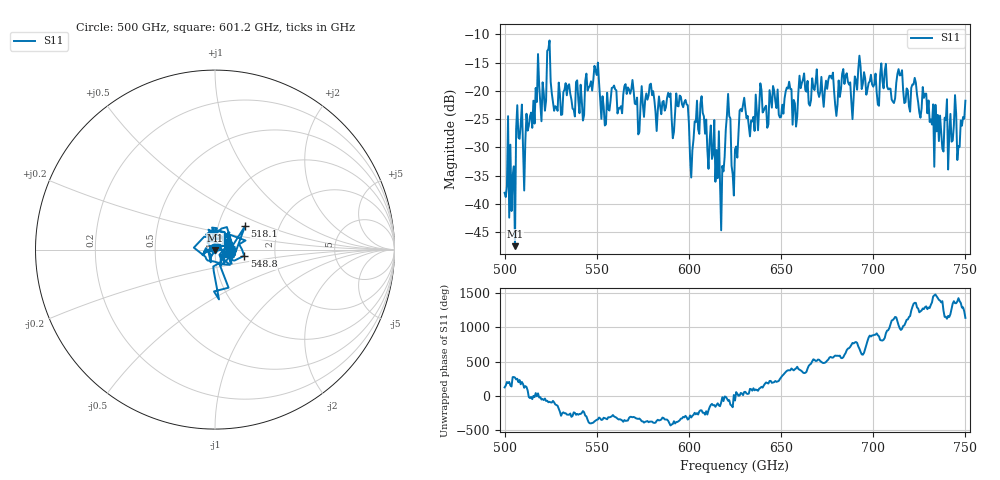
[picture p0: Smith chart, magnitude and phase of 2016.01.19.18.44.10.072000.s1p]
!Created with skrf (http://scikit-rf.org).
# GHz S RI R 50.0
!freq ReS11 ImS11
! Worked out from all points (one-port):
!   401 points, 500 GHz to 750 GHz, reference 50 ohm
!   lowest |S11| = -47.4 dB at 505.6 GHz (marker M1), VSWR 1.01, Z = 50 - j0.426 ohm
!   |S11| at or under -10 dB: start of sweep to end of sweep
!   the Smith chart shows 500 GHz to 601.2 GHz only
!   S11 on the Smith chart (normalised r, x): 500 GHz: 0.99, +0.02; 518.1 GHz: 1.34, +0.36; 548.8 GHz: 1.38, -0.10; 601.2 GHz: 1.02, +0.03
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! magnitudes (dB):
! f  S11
! 500 GHz  -38.0
! 505.6 GHz  -47.4
! 508.1 GHz  -28.5
! 511.2 GHz  -28.8
! 518.1 GHz  -13.5
! 521.2 GHz  -20.4
! 524.4 GHz  -11.1
! 526.9 GHz  -23.5
! 531.2 GHz  -24.2
! 548.8 GHz  -15.6
! 553.8 GHz  -22.8
! 559.4 GHz  -19.1
! 562.5 GHz  -23.1
! 593.8 GHz  -22.7
! 598.8 GHz  -22.4
! 601.2 GHz  -35.3
! 607.5 GHz  -23.9
! 618.1 GHz  -33.3
! 621.2 GHz  -20.5
! 625 GHz  -30.3
! 628.8 GHz  -23.6
! 656.2 GHz  -26.0
! 687.5 GHz  -18.5
! 710.6 GHz  -21.9
! 714.4 GHz  -17.3
! 718.8 GHz  -19.9
! 741.9 GHz  -24.1
! 750 GHz  -21.7
